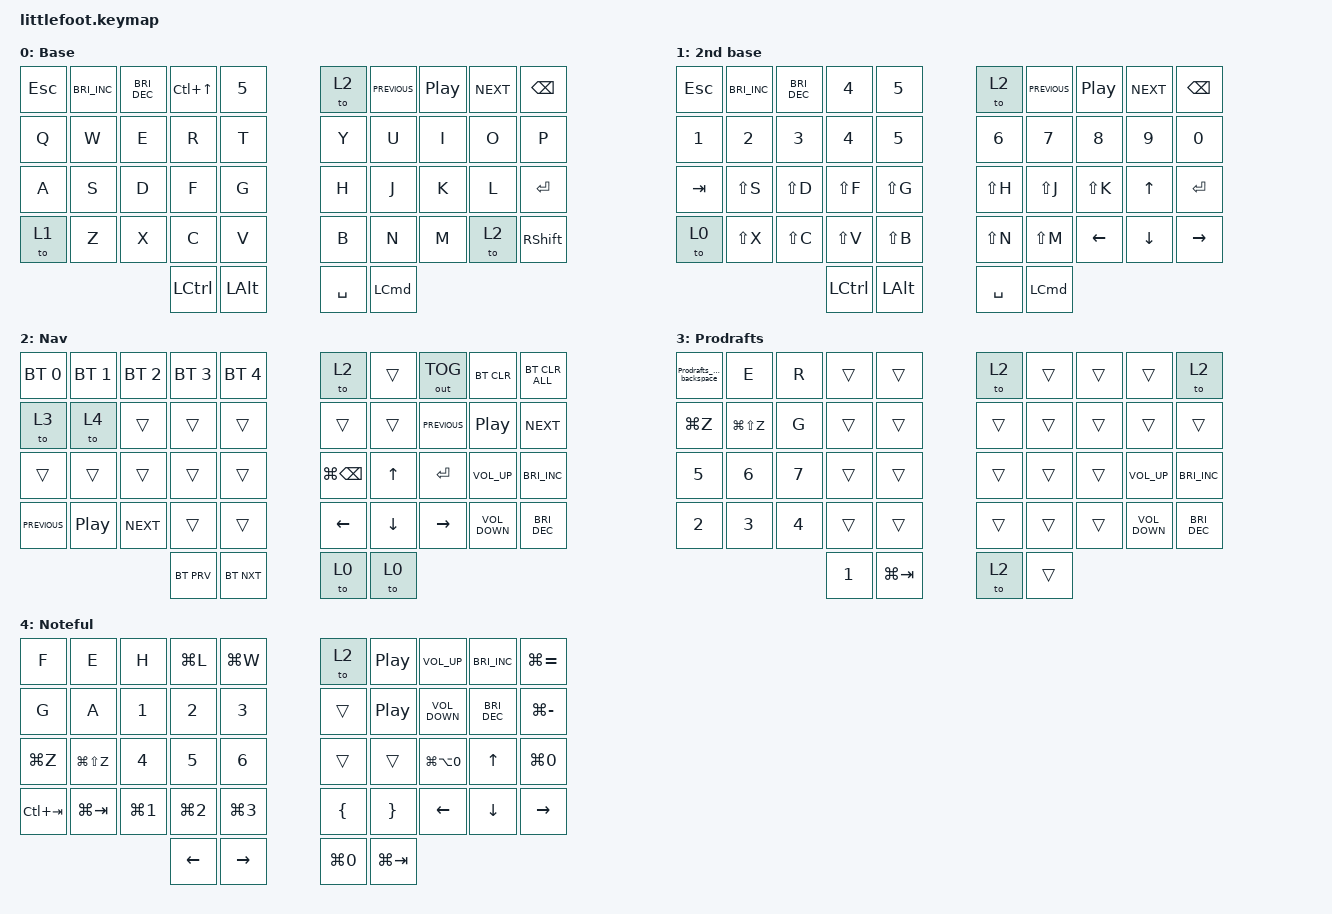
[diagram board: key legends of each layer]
#include <behaviors.dtsi>
#include <dt-bindings/zmk/bt.h>
#include <dt-bindings/zmk/keys.h>
#include <dt-bindings/zmk/outputs.h>

/ {
    behaviors {
        Prodrafts_Lasso_backspace: Prodrafts_Lasso_backspace {
            compatible = "zmk,behavior-tap-dance";
            label = "PRODRAFTS_LASSO_BACKSPACE";
            #binding-cells = <0>;
            bindings = <&kp V>, <&kp BACKSPACE>;
        };
    };

    macros {
        new_macro: new_macro {
            compatible = "zmk,behavior-macro";
            #binding-cells = <0>;
            bindings = <&none>;
            label = "NEW_MACRO";
        };
    };

    keymap {
        compatible = "zmk,keymap";

        Base1 {
            display-name = "Base";
            bindings = <
&kp ESCAPE        &kp C_BRIGHTNESS_INC  &kp C_BRIGHTNESS_DEC  &kp LC(UP_ARROW)  &kp N5  &to 2  &kp C_PREVIOUS  &kp C_PLAY_PAUSE  &kp C_NEXT  &kp BACKSPACE
&kp Q             &kp W                 &kp E                 &kp R             &kp T   &kp Y  &kp U           &kp I             &kp O       &kp P
&kp A             &kp S                 &kp D                 &kp F             &kp G   &kp H  &kp J           &kp K             &kp L       &kp ENTER
&to 1             &kp Z                 &kp X                 &kp C             &kp V   &kp B  &kp N           &kp M             &to 2       &kp RIGHT_SHIFT
&kp LEFT_CONTROL  &kp LEFT_ALT          &kp SPACE             &kp LEFT_COMMAND
            >;
        };

        Base2 {
            display-name = "2nd base";
            bindings = <
&kp ESCAPE        &kp C_BRIGHTNESS_INC  &kp C_BRIGHTNESS_DEC  &kp N4            &kp N5     &to 2         &kp C_PREVIOUS  &kp C_PLAY_PAUSE  &kp C_NEXT      &kp BACKSPACE
&kp NUMBER_1      &kp NUMBER_2          &kp NUMBER_3          &kp NUMBER_4      &kp N5     &kp NUMBER_6  &kp N7          &kp N8            &kp N9          &kp N0
&kp TAB           &kp LS(S)             &kp LS(D)             &kp LS(F)         &kp LS(G)  &kp LS(H)     &kp LS(J)       &kp LS(K)         &kp UP_ARROW    &kp ENTER
&to 0             &kp LS(X)             &kp LS(C)             &kp LS(V)         &kp LS(B)  &kp LS(N)     &kp LS(M)       &kp LEFT_ARROW    &kp DOWN_ARROW  &kp RIGHT
&kp LEFT_CONTROL  &kp LEFT_ALT          &kp SPACE             &kp LEFT_COMMAND
            >;
        };

        Nav {
            bindings = <
&bt BT_SEL 0    &bt BT_SEL 1      &bt BT_SEL 2  &bt BT_SEL 3  &bt BT_SEL 4  &to 2              &trans          &out OUT_TOG    &bt BT_CLR         &bt BT_CLR_ALL
&to 3           &to 4             &trans        &trans        &trans        &trans             &trans          &kp C_PREVIOUS  &kp C_PLAY_PAUSE   &kp C_NEXT
&trans          &trans            &trans        &trans        &trans        &kp LG(BACKSPACE)  &kp UP_ARROW    &kp ENTER       &kp C_VOLUME_UP    &kp C_BRIGHTNESS_INC
&kp C_PREVIOUS  &kp C_PLAY_PAUSE  &kp C_NEXT    &trans        &trans        &kp LEFT           &kp DOWN_ARROW  &kp RIGHT       &kp C_VOLUME_DOWN  &kp C_BRI_DEC
&bt BT_PRV      &bt BT_NXT        &to 0         &to 0
            >;
        };

        Prodrafts {
            bindings = <
&Prodrafts_Lasso_backspace  &kp E          &kp R         &trans  &trans  &to 2   &trans  &trans  &trans             &to 2
&kp LG(Z)                   &kp LG(LS(Z))  &kp G         &trans  &trans  &trans  &trans  &trans  &trans             &trans
&kp N5                      &kp NUMBER_6   &kp N7        &trans  &trans  &trans  &trans  &trans  &kp C_VOLUME_UP    &kp C_BRI_INC
&kp NUMBER_2                &kp NUMBER_3   &kp NUMBER_4  &trans  &trans  &trans  &trans  &trans  &kp C_VOLUME_DOWN  &kp C_BRIGHTNESS_DEC
&kp NUMBER_1                &kp LG(TAB)    &to 2         &trans
            >;
        };

        Noteful {
            bindings = <
&kp F        &kp E          &kp H             &kp LG(L)         &kp LG(W)         &to 2           &kp C_PLAY_PAUSE  &kp C_VOLUME_UP    &kp C_BRIGHTNESS_INC  &kp LG(EQUAL)
&kp G        &kp A          &kp NUMBER_1      &kp NUMBER_2      &kp NUMBER_3      &trans          &kp C_PLAY_PAUSE  &kp C_VOLUME_DOWN  &kp C_BRIGHTNESS_DEC  &kp LG(MINUS)
&kp LG(Z)    &kp LG(LS(Z))  &kp NUMBER_4      &kp N5            &kp NUMBER_6      &trans          &trans            &kp LG(LA(N0))     &kp UP_ARROW          &kp LG(N0)
&kp LC(TAB)  &kp LG(TAB)    &kp LG(NUMBER_1)  &kp LG(NUMBER_2)  &kp LG(NUMBER_3)  &kp LEFT_BRACE  &kp RIGHT_BRACE   &kp LEFT_ARROW     &kp DOWN_ARROW        &kp RIGHT
&kp LEFT     &kp RIGHT      &kp LG(N0)        &kp LG(TAB)
            >;
        };
    };
};
